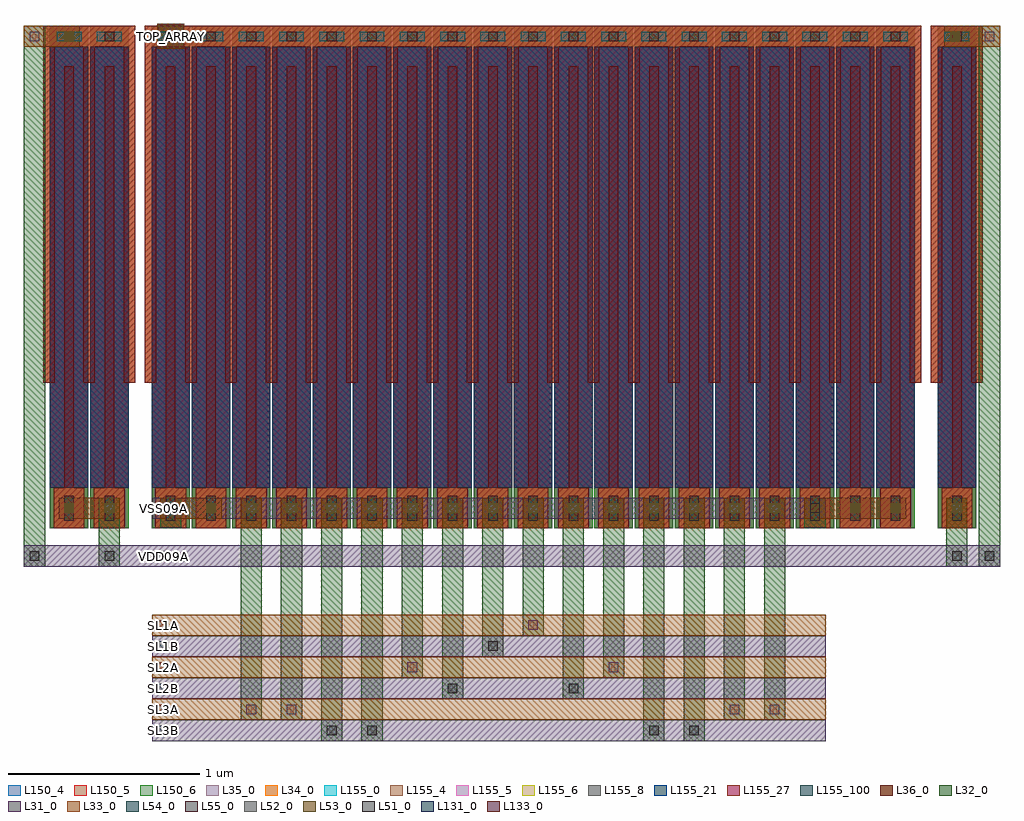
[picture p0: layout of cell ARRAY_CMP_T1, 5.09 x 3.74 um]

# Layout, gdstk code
from math import pi, radians
import gdstk
lib = gdstk.Library(unit=1e-6, precision=1e-09)
def R(c, l, rs):  # rectangles x0, y0, x1, y1
    for r in rs: c.add(gdstk.rectangle(r[:2], r[2:], *l))
def A(c, l, x, y, w, h, nx, ny, dx, dy):  # array of equal rectangles
    R(c, l, [(x+i*dx, y+j*dy, x+i*dx+w, y+j*dy+h) for i in range(nx) for j in range(ny)])
L31_0 = (31, 0)
L32_0 = (32, 0)
L33_0 = (33, 0)
L34_0 = (34, 0)
L35_0 = (35, 0)
L36_0 = (36, 0)
L51_0 = (51, 0)
L52_0 = (52, 0)
L53_0 = (53, 0)
L54_0 = (54, 0)
L55_0 = (55, 0)
L131_0 = (131, 0)
L133_0 = (133, 0)
L150_4 = (150, 4)
L150_5 = (150, 5)
L150_6 = (150, 6)
L155_0 = (155, 0)
L155_4 = (155, 4)
L155_5 = (155, 5)
L155_6 = (155, 6)
L155_8 = (155, 8)
L155_21 = (155, 21)
L155_27 = (155, 27)
L155_100 = (155, 100)

m5_m4_cdns_616906172876 = lib.new_cell('M5_M4_CDNS_616906172876')
R(m5_m4_cdns_616906172876, L34_0, [(-0.07,-0.105,0.07,0.105)])
R(m5_m4_cdns_616906172876, L35_0, [(-0.07,-0.105,0.07,0.105)])
R(m5_m4_cdns_616906172876, L54_0, [(-0.025,-0.065,0.025,0.065)])

m6_m5_cdns_616906172877 = lib.new_cell('M6_M5_CDNS_616906172877')
R(m6_m5_cdns_616906172877, L35_0, [(-0.07,-0.105,0.07,0.105)])
R(m6_m5_cdns_616906172877, L36_0, [(-0.055,-0.105,0.055,0.105)])
R(m6_m5_cdns_616906172877, L55_0, [(-0.025,-0.065,0.025,0.065)])

m5_m4_cdns_616906172878 = lib.new_cell('M5_M4_CDNS_616906172878')
R(m5_m4_cdns_616906172878, L34_0, [(-0.095,-0.055,0.095,0.055)])
R(m5_m4_cdns_616906172878, L35_0, [(-0.12,-0.055,0.12,0.055)])
R(m5_m4_cdns_616906172878, L54_0, [(-0.065,-0.025,0.065,0.025)])

m6_m5_cdns_616906172879 = lib.new_cell('M6_M5_CDNS_616906172879')
R(m6_m5_cdns_616906172879, L35_0, [(-0.055,-0.055,0.055,0.055)])
R(m6_m5_cdns_616906172879, L36_0, [(-0.055,-0.055,0.055,0.055)])
R(m6_m5_cdns_616906172879, L55_0, [(-0.025,-0.025,0.025,0.025)])

cu1f = lib.new_cell('CU1F')
R(cu1f, L34_0, [(0.02,0,0.18,0.21), (-0.035,2.51,0.235,2.62)])
R(cu1f, L35_0, [(0.02,0,0.18,0.21), (-0.035,2.51,0.235,2.62)])
R(cu1f, L36_0, [(0.02,0,0.18,0.21), (-0.035,2.51,0.235,2.62)])
R(cu1f, L150_4, [(0,0,0.2,2.62)])
R(cu1f, L150_5, [(0,0,0.2,2.62)])
R(cu1f, L150_6, [(0,0,0.2,2.62)])
R(cu1f, L155_0, [(0,0.21,0.2,2.51)])
R(cu1f, L155_4, [(0,0.21,0.2,2.51)])
R(cu1f, L155_5, [(0,0.21,0.2,2.51)])
R(cu1f, L155_6, [(0,0.21,0.2,2.51)])
R(cu1f, L155_8, [(0,0.21,0.2,2.51)])
R(cu1f, L155_21, [(0,0.21,0.2,2.51)])
R(cu1f, L155_27, [(0,0.21,0.2,2.51)])
R(cu1f, L155_100, [(0,0.21,0.2,2.51)])
cu1f.add(gdstk.FlexPath([(0.205,2.59),(0.205,0.76)], 0.06, ends=(0.03, 0), simple_path=True, layer=34, datatype=0))  # L34_0
cu1f.add(gdstk.FlexPath([(0.1,2.41),(0.1,0)], 0.05, ends="flush", simple_path=True, layer=34, datatype=0))  # L34_0
cu1f.add(gdstk.FlexPath([(-0.005,2.59),(-0.005,0.76)], 0.06, ends=(0.03, 0), simple_path=True, layer=34, datatype=0))  # L34_0
cu1f.add(gdstk.FlexPath([(0.205,0.76),(0.205,2.59)], 0.06, ends=(0, 0.03), simple_path=True, layer=35, datatype=0))  # L35_0
cu1f.add(gdstk.FlexPath([(0.1,2.41),(0.1,0)], 0.05, ends="flush", simple_path=True, layer=35, datatype=0))  # L35_0
cu1f.add(gdstk.FlexPath([(-0.005,0.76),(-0.005,2.59)], 0.06, ends=(0, 0.03), simple_path=True, layer=35, datatype=0))  # L35_0
cu1f.add(gdstk.FlexPath([(0.205,0.76),(0.205,2.59)], 0.06, ends=(0, 0.03), simple_path=True, layer=36, datatype=0))  # L36_0
cu1f.add(gdstk.FlexPath([(0.1,2.41),(0.1,0)], 0.05, ends="flush", simple_path=True, layer=36, datatype=0))  # L36_0
cu1f.add(gdstk.FlexPath([(-0.005,0.76),(-0.005,2.59)], 0.06, ends=(0, 0.03), simple_path=True, layer=36, datatype=0))  # L36_0
cu1f.add(gdstk.Reference(m5_m4_cdns_616906172876, (0.1,0.105), rotation=pi, x_reflection=True))
cu1f.add(gdstk.Reference(m6_m5_cdns_616906172877, (0.1,0.105), rotation=pi, x_reflection=True))
cu1f.add(gdstk.Reference(m5_m4_cdns_616906172878, (0.1,2.565)))
cu1f.add(gdstk.Reference(m6_m5_cdns_616906172879, (0.1,2.565)))

m2_m1_cdns_616906172870 = lib.new_cell('M2_M1_CDNS_616906172870')
R(m2_m1_cdns_616906172870, L31_0, [(-0.055,-0.055,0.055,0.055)])
R(m2_m1_cdns_616906172870, L32_0, [(-0.055,-0.055,0.055,0.055)])
R(m2_m1_cdns_616906172870, L51_0, [(-0.025,-0.025,0.025,0.025)])

m3_m2_cdns_616906172871 = lib.new_cell('M3_M2_CDNS_616906172871')
R(m3_m2_cdns_616906172871, L32_0, [(-0.055,-0.055,0.055,0.055)])
R(m3_m2_cdns_616906172871, L33_0, [(-0.055,-0.055,0.055,0.055)])
R(m3_m2_cdns_616906172871, L52_0, [(-0.025,-0.025,0.025,0.025)])

m4_m3_cdns_616906172872 = lib.new_cell('M4_M3_CDNS_616906172872')
R(m4_m3_cdns_616906172872, L33_0, [(-0.055,-0.055,0.055,0.055)])
R(m4_m3_cdns_616906172872, L34_0, [(-0.055,-0.055,0.055,0.055)])
R(m4_m3_cdns_616906172872, L53_0, [(-0.025,-0.025,0.025,0.025)])

m4_m3_cdns_616906172873 = lib.new_cell('M4_M3_CDNS_616906172873')
R(m4_m3_cdns_616906172873, L33_0, [(-0.07,-0.065,0.07,0.065)])
R(m4_m3_cdns_616906172873, L34_0, [(-0.055,-0.055,0.055,0.055)])
R(m4_m3_cdns_616906172873, L53_0, [(-0.025,-0.025,0.025,0.025)])

m3_m2_cdns_616906172874 = lib.new_cell('M3_M2_CDNS_616906172874')
R(m3_m2_cdns_616906172874, L32_0, [(-0.065,-0.06,0.065,0.06)])
R(m3_m2_cdns_616906172874, L33_0, [(-0.07,-0.065,0.07,0.065)])
R(m3_m2_cdns_616906172874, L52_0, [(-0.025,-0.025,0.025,0.025)])

m2_m1_cdns_616906172875 = lib.new_cell('M2_M1_CDNS_616906172875')
R(m2_m1_cdns_616906172875, L31_0, [(-0.055,-0.055,0.055,0.055)])
R(m2_m1_cdns_616906172875, L32_0, [(-0.065,-0.06,0.065,0.06)])
R(m2_m1_cdns_616906172875, L51_0, [(-0.025,-0.025,0.025,0.025)])

array_cmp_t1 = lib.new_cell('ARRAY_CMP_T1')
A(array_cmp_t1, L31_0, 0.535, -1.11, 3.51, 0.11, 1, 3, 0, 0.22)
R(array_cmp_t1, L31_0, [(-0.135,-0.2,4.955,-0.09), (0.535,0.05,4.045,0.16), (0.56,2.5,0.7,2.63)])
R(array_cmp_t1, L32_0, [(1.415,-1.11,1.525,0.16), (1.625,-1.11,1.735,0.16), (3.095,-1.11,3.205,0.16), (3.305,-1.11,3.415,0.16), (0.995,-1,1.105,0.16), (1.205,-1,1.315,0.16), (3.515,-1,3.625,0.16), (3.725,-1,3.835,0.16), (2.045,-0.89,2.155,0.16), (2.675,-0.89,2.785,0.16), (1.835,-0.78,1.945,0.16), (2.885,-0.78,2.995,0.16), (2.255,-0.67,2.365,0.16), (2.465,-0.56,2.575,0.16), (-0.135,-0.2,-0.025,2.62), (0.255,-0.2,0.365,0.16), (4.675,-0.2,4.785,0.16), (4.845,-0.2,4.955,2.62), (0.575,0,0.685,0.16), (3.935,0,4.045,0.16)])
A(array_cmp_t1, L33_0, 0.535, -1, 3.51, 0.11, 1, 3, 0, 0.22)
A(array_cmp_t1, L33_0, 0.995, 0, 0.11, 0.16, 14, 1, 0.21, 0)
R(array_cmp_t1, L33_0, [(4.675,0,4.785,0.16), (0.045,0.05,0.365,0.16), (0.575,0.05,0.895,0.16), (3.935,0.05,4.465,0.16), (-0.135,2.51,0.155,2.62), (4.665,2.51,4.955,2.62)])
A(array_cmp_t1, L131_0, 0.565, -1.08, 0.05, 0.05, 1, 3, 0, 0.22)
R(array_cmp_t1, L131_0, [(0.565,-0.17,0.615,-0.12), (0.565,0.08,0.615,0.13), (0.605,2.54,0.655,2.59)])
A(array_cmp_t1, L133_0, 0.565, -0.97, 0.05, 0.05, 1, 3, 0, 0.22)
array_cmp_t1.add(gdstk.Reference(cu1f, (0,0)))
array_cmp_t1.add(gdstk.Reference(cu1f, (0.21,0)))
array_cmp_t1.add(gdstk.Reference(cu1f, (0.53,0)))
array_cmp_t1.add(gdstk.Reference(cu1f, (0.74,0)))
array_cmp_t1.add(gdstk.Reference(cu1f, (4.63,0)))
array_cmp_t1.add(gdstk.Reference(cu1f, (4.31,0)))
array_cmp_t1.add(gdstk.Reference(cu1f, (4.1,0)))
array_cmp_t1.add(gdstk.Reference(cu1f, (3.89,0)))
array_cmp_t1.add(gdstk.Reference(cu1f, (3.68,0)))
array_cmp_t1.add(gdstk.Reference(cu1f, (3.47,0)))
array_cmp_t1.add(gdstk.Reference(cu1f, (3.26,0)))
array_cmp_t1.add(gdstk.Reference(cu1f, (3.05,0)))
array_cmp_t1.add(gdstk.Reference(cu1f, (2.84,0)))
array_cmp_t1.add(gdstk.Reference(cu1f, (2.63,0)))
array_cmp_t1.add(gdstk.Reference(cu1f, (2.42,0)))
array_cmp_t1.add(gdstk.Reference(cu1f, (2.21,0)))
array_cmp_t1.add(gdstk.Reference(cu1f, (2,0)))
array_cmp_t1.add(gdstk.Reference(cu1f, (1.79,0)))
array_cmp_t1.add(gdstk.Reference(cu1f, (1.58,0)))
array_cmp_t1.add(gdstk.Reference(cu1f, (1.37,0)))
array_cmp_t1.add(gdstk.Reference(cu1f, (1.16,0)))
array_cmp_t1.add(gdstk.Reference(cu1f, (0.95,0)))
array_cmp_t1.add(gdstk.Reference(m2_m1_cdns_616906172870, (4.9,-0.145)))
array_cmp_t1.add(gdstk.Reference(m2_m1_cdns_616906172870, (-0.08,-0.145)))
array_cmp_t1.add(gdstk.Reference(m2_m1_cdns_616906172870, (3.99,0.105)))
array_cmp_t1.add(gdstk.Reference(m2_m1_cdns_616906172870, (4.73,-0.145)))
array_cmp_t1.add(gdstk.Reference(m2_m1_cdns_616906172870, (0.31,-0.145)))
array_cmp_t1.add(gdstk.Reference(m2_m1_cdns_616906172870, (2.31,-0.615)))
array_cmp_t1.add(gdstk.Reference(m2_m1_cdns_616906172870, (2.1,-0.835)))
array_cmp_t1.add(gdstk.Reference(m2_m1_cdns_616906172870, (2.73,-0.835)))
array_cmp_t1.add(gdstk.Reference(m2_m1_cdns_616906172870, (1.68,-1.055)))
array_cmp_t1.add(gdstk.Reference(m2_m1_cdns_616906172870, (1.47,-1.055)))
array_cmp_t1.add(gdstk.Reference(m2_m1_cdns_616906172870, (3.15,-1.055)))
array_cmp_t1.add(gdstk.Reference(m2_m1_cdns_616906172870, (3.36,-1.055)))
array_cmp_t1.add(gdstk.Reference(m2_m1_cdns_616906172870, (0.63,0.105)))
array_cmp_t1.add(gdstk.Reference(m3_m2_cdns_616906172871, (3.57,-0.945)))
array_cmp_t1.add(gdstk.Reference(m3_m2_cdns_616906172871, (4.9,2.565)))
array_cmp_t1.add(gdstk.Reference(m3_m2_cdns_616906172871, (-0.08,2.565)))
array_cmp_t1.add(gdstk.Reference(m3_m2_cdns_616906172871, (1.05,0.105)))
array_cmp_t1.add(gdstk.Reference(m3_m2_cdns_616906172871, (1.26,0.105)))
array_cmp_t1.add(gdstk.Reference(m3_m2_cdns_616906172871, (1.47,0.105)))
array_cmp_t1.add(gdstk.Reference(m3_m2_cdns_616906172871, (1.68,0.105)))
array_cmp_t1.add(gdstk.Reference(m3_m2_cdns_616906172871, (1.89,0.105)))
array_cmp_t1.add(gdstk.Reference(m3_m2_cdns_616906172871, (2.1,0.105)))
array_cmp_t1.add(gdstk.Reference(m3_m2_cdns_616906172871, (2.31,0.105)))
array_cmp_t1.add(gdstk.Reference(m3_m2_cdns_616906172871, (2.52,0.105)))
array_cmp_t1.add(gdstk.Reference(m3_m2_cdns_616906172871, (2.73,0.105)))
array_cmp_t1.add(gdstk.Reference(m3_m2_cdns_616906172871, (2.94,0.105)))
array_cmp_t1.add(gdstk.Reference(m3_m2_cdns_616906172871, (3.15,0.105)))
array_cmp_t1.add(gdstk.Reference(m3_m2_cdns_616906172871, (3.36,0.105)))
array_cmp_t1.add(gdstk.Reference(m3_m2_cdns_616906172871, (3.57,0.105)))
array_cmp_t1.add(gdstk.Reference(m3_m2_cdns_616906172871, (3.78,0.105)))
array_cmp_t1.add(gdstk.Reference(m3_m2_cdns_616906172871, (4.73,0.105)))
array_cmp_t1.add(gdstk.Reference(m3_m2_cdns_616906172871, (3.99,0.105)))
array_cmp_t1.add(gdstk.Reference(m3_m2_cdns_616906172871, (0.63,0.105)))
array_cmp_t1.add(gdstk.Reference(m3_m2_cdns_616906172871, (0.31,0.105)))
array_cmp_t1.add(gdstk.Reference(m3_m2_cdns_616906172871, (2.52,-0.505)))
array_cmp_t1.add(gdstk.Reference(m3_m2_cdns_616906172871, (2.94,-0.725)))
array_cmp_t1.add(gdstk.Reference(m3_m2_cdns_616906172871, (1.05,-0.945)))
array_cmp_t1.add(gdstk.Reference(m3_m2_cdns_616906172871, (3.78,-0.945)))
array_cmp_t1.add(gdstk.Reference(m3_m2_cdns_616906172871, (1.89,-0.725)))
array_cmp_t1.add(gdstk.Reference(m3_m2_cdns_616906172871, (1.26,-0.945)))
array_cmp_t1.add(gdstk.Reference(m4_m3_cdns_616906172872, (4.72,2.565), rotation=pi, x_reflection=True))
array_cmp_t1.add(gdstk.Reference(m4_m3_cdns_616906172872, (0.1,2.565)))
array_cmp_t1.add(gdstk.Reference(m4_m3_cdns_616906172872, (1.05,0.105)))
array_cmp_t1.add(gdstk.Reference(m4_m3_cdns_616906172872, (1.26,0.105)))
array_cmp_t1.add(gdstk.Reference(m4_m3_cdns_616906172872, (1.47,0.105)))
array_cmp_t1.add(gdstk.Reference(m4_m3_cdns_616906172872, (1.68,0.105)))
array_cmp_t1.add(gdstk.Reference(m4_m3_cdns_616906172872, (1.89,0.105)))
array_cmp_t1.add(gdstk.Reference(m4_m3_cdns_616906172872, (2.1,0.105)))
array_cmp_t1.add(gdstk.Reference(m4_m3_cdns_616906172872, (2.31,0.105)))
array_cmp_t1.add(gdstk.Reference(m4_m3_cdns_616906172872, (2.52,0.105)))
array_cmp_t1.add(gdstk.Reference(m4_m3_cdns_616906172872, (2.73,0.105)))
array_cmp_t1.add(gdstk.Reference(m4_m3_cdns_616906172872, (2.94,0.105)))
array_cmp_t1.add(gdstk.Reference(m4_m3_cdns_616906172872, (3.15,0.105)))
array_cmp_t1.add(gdstk.Reference(m4_m3_cdns_616906172872, (3.36,0.105)))
array_cmp_t1.add(gdstk.Reference(m4_m3_cdns_616906172872, (3.57,0.105)))
array_cmp_t1.add(gdstk.Reference(m4_m3_cdns_616906172872, (3.78,0.105)))
array_cmp_t1.add(gdstk.Reference(m4_m3_cdns_616906172872, (4.73,0.105)))
array_cmp_t1.add(gdstk.Reference(m4_m3_cdns_616906172872, (4.2,0.105)))
array_cmp_t1.add(gdstk.Reference(m4_m3_cdns_616906172872, (4.41,0.105)))
array_cmp_t1.add(gdstk.Reference(m4_m3_cdns_616906172872, (3.99,0.105)))
array_cmp_t1.add(gdstk.Reference(m4_m3_cdns_616906172872, (0.84,0.105)))
array_cmp_t1.add(gdstk.Reference(m4_m3_cdns_616906172872, (0.63,0.105)))
array_cmp_t1.add(gdstk.Reference(m4_m3_cdns_616906172872, (0.1,0.105)))
array_cmp_t1.add(gdstk.Reference(m4_m3_cdns_616906172872, (0.31,0.105)))
array_cmp_t1.add(gdstk.Reference(m4_m3_cdns_616906172873, (0.63,2.565)))
array_cmp_t1.add(gdstk.Reference(m3_m2_cdns_616906172874, (0.63,2.565)))
array_cmp_t1.add(gdstk.Reference(m2_m1_cdns_616906172875, (0.63,2.565)))
array_cmp_t1.add(gdstk.Label('SL3A', (0.59,-0.945), layer=133, texttype=0))
array_cmp_t1.add(gdstk.Label('SL1A', (0.59,-0.505), layer=133, texttype=0))
array_cmp_t1.add(gdstk.Label('SL2A', (0.59,-0.725), layer=133, texttype=0))
array_cmp_t1.add(gdstk.Label('VDD09A', (0.59,-0.145), layer=131, texttype=0))
array_cmp_t1.add(gdstk.Label('SL3B', (0.59,-1.055), layer=131, texttype=0))
array_cmp_t1.add(gdstk.Label('VSS09A', (0.59,0.105), layer=131, texttype=0))
array_cmp_t1.add(gdstk.Label('SL1B', (0.59,-0.615), layer=131, texttype=0))
array_cmp_t1.add(gdstk.Label('SL2B', (0.59,-0.835), layer=131, texttype=0))
array_cmp_t1.add(gdstk.Label('TOP_ARRAY', (0.628,2.565), layer=131, texttype=0))

lib.write_gds('ARRAY_CMP_T1.gds')
